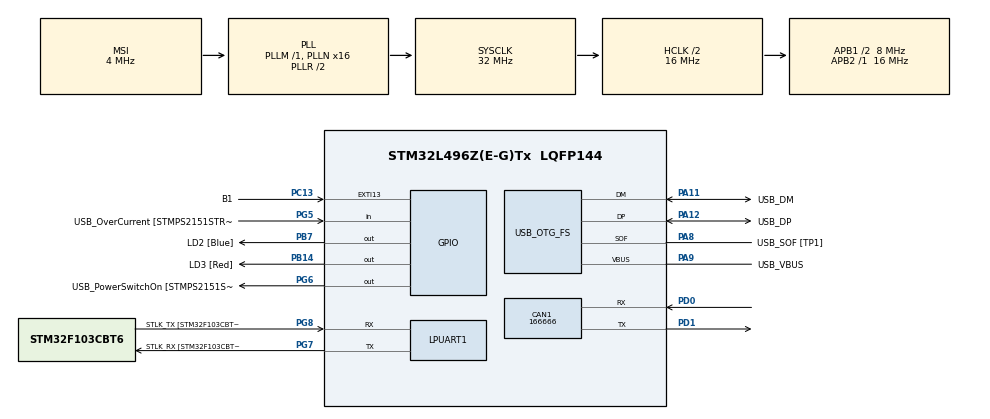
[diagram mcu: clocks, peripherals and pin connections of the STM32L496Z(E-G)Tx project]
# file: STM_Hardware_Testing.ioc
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CAN1.CalculateBaudRate=166666
CAN1.CalculateTimeBit=6000
CAN1.CalculateTimeQuantum=2000.0
IWDG.Prescaler=IWDG_PRESCALER_128
IWDG.Reload=1000
IWDG.Window=1000
Mcu.Family=STM32L4
Mcu.Name=STM32L496Z(E-G)Tx
Mcu.Package=LQFP144
NVIC.CAN1_RX0_IRQn=true\:0\:0\:false\:false\:true\:true\:true\:true
NVIC.PriorityGroup=NVIC_PRIORITYGROUP_4
NVIC.RTC_Alarm_IRQn=true\:0\:0\:false\:false\:true\:true\:true\:true
PA10.GPIO_Label=USB_ID
PA10.Signal=USB_OTG_FS_ID
PA11.GPIO_Label=USB_DM
PA11.Mode=Device_Only
PA11.Signal=USB_OTG_FS_DM
PA12.GPIO_Label=USB_DP
PA12.Mode=Device_Only
PA12.Signal=USB_OTG_FS_DP
PA13\ (JTMS/SWDIO).GPIO_Label=TMS
PA13\ (JTMS/SWDIO).Mode=Trace_Asynchronous_SW
PA13\ (JTMS/SWDIO).Signal=SYS_JTMS-SWDIO
PA14\ (JTCK/SWCLK).GPIO_Label=TCK
PA14\ (JTCK/SWCLK).Mode=Trace_Asynchronous_SW
PA14\ (JTCK/SWCLK).Signal=SYS_JTCK-SWCLK
PA8.GPIO_Label=USB_SOF [TP1]
PA8.Mode=Activate_SOF_FS
PA8.Signal=USB_OTG_FS_SOF
PA9.GPIO_Label=USB_VBUS
PA9.Mode=Activate_VBUS
PA9.Signal=USB_OTG_FS_VBUS
PB14.GPIO_Label=LD3 [Red]
PB14.Signal=GPIO_Output
PB3\ (JTDO/TRACESWO).GPIO_Label=SWO
PB3\ (JTDO/TRACESWO).Mode=Trace_Asynchronous_SW
PB3\ (JTDO/TRACESWO).Signal=SYS_JTDO-SWO
PB7.GPIO_Label=LD2 [Blue]
PB7.Signal=GPIO_Output
PC13.GPIO_Label=B1
PC13.Signal=GPXTI13
PC14-OSC32_IN\ (PC14).Mode=LSE-External-Oscillator
PC14-OSC32_IN\ (PC14).Signal=RCC_OSC32_IN
PC15-OSC32_OUT\ (PC15).Mode=LSE-External-Oscillator
PC15-OSC32_OUT\ (PC15).Signal=RCC_OSC32_OUT
PD0.Mode=CAN_Activate
PD0.Signal=CAN1_RX
PD1.Mode=CAN_Activate
PD1.Signal=CAN1_TX
PG5.GPIO_Label=USB_OverCurrent [STMPS2151STR_FAULT]
PG5.Signal=GPIO_Input
PG6.GPIO_Label=USB_PowerSwitchOn [STMPS2151STR_EN]
PG6.Signal=GPIO_Output
PG7.GPIO_Label=STLK_RX [STM32F103CBT6_PA3]
PG7.Mode=Asynchronous
PG7.Signal=LPUART1_TX
PG8.GPIO_Label=STLK_TX [STM32F103CBT6_PA2]
PG8.Mode=Asynchronous
PG8.Signal=LPUART1_RX
PH1-OSC_OUT\ (PH1).Signal=RCC_OSC_OUT
ProjectManager.HeapSize=0x200
ProjectManager.StackSize=0x400
ProjectManager.TargetToolchain=STM32CubeIDE
RCC.48MHZClocksFreq_Value=24000000
RCC.ADCFreq_Value=48000000
RCC.AHBCLKDivider=RCC_SYSCLK_DIV2
RCC.AHBFreq_Value=16000000
RCC.APB1CLKDivider=RCC_HCLK_DIV2
RCC.APB1Freq_Value=8000000
RCC.APB1TimFreq_Value=16000000
RCC.APB2Freq_Value=16000000
RCC.APB2TimFreq_Value=16000000
RCC.CortexFreq_Value=16000000
RCC.HCLKFreq_Value=16000000
RCC.HSE_VALUE=8000000
RCC.HSI48_VALUE=48000000
RCC.HSI_VALUE=16000000
RCC.MSI_VALUE=4000000
RCC.PLLMUL=RCC_PLL_MUL9
RCC.PLLN=16
RCC.PLLSAI1N=24
RCC.PRESCALERUSB=RCC_USBCLKSOURCE_PLL_DIV1_5
RCC.SYSCLKFreq_VALUE=32000000
RCC.SYSCLKSource=RCC_SYSCLKSOURCE_PLLCLK
RCC.SYSCLKSourceVirtual=RCC_SYSCLKSOURCE_PLLCLK
RCC.USBFreq_Value=48000000
RCC.VCOOutputFreq_Value=64000000
RTC.Alarm-Alarm\ A=RTC_ALARM_A
RTC.AlarmMaskDateWeekDay-Alarm\ A=RTC_ALARMMASK_DATEWEEKDAY
RTC.AlarmMaskHours-Alarm\ A=RTC_ALARMMASK_HOURS
RTC.AlarmMaskMinutes-Alarm\ A=RTC_ALARMMASK_MINUTES
RTC.AlarmMaskSeconds-Alarm\ A=RTC_ALARMMASK_SECONDS
RTC.Seconds=1
USB_OTG_FS.VirtualMode=Device_Only
VP_IWDG_VS_IWDG.Mode=IWDG_Activate
VP_RTC_VS_RTC_Activate.Mode=RTC_Enabled
VP_RTC_VS_RTC_Alarm_A_Intern.Mode=Alarm A
VP_RTC_VS_RTC_Calendar.Mode=RTC_Calendar
board=NUCLEO-L496ZG

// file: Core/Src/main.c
/* USER CODE BEGIN Header */
/**
  ******************************************************************************
  * @file           : main.c
  * @brief          : Main program body
  ******************************************************************************
  * @attention
  *
  * Copyright (c) 2025 STMicroelectronics.
  * All rights reserved.
  *
  * This software is licensed under terms that can be found in the LICENSE file
  * in the root directory of this software component.
  * If no LICENSE file comes with this software, it is provided AS-IS.
  *
  ******************************************************************************
  */
/* USER CODE END Header */
#include "main.h"
//#include "isotp_functions.c"

CAN_HandleTypeDef hcan1;

IWDG_HandleTypeDef hiwdg;

UART_HandleTypeDef hlpuart1;

RTC_HandleTypeDef hrtc;

PCD_HandleTypeDef hpcd_USB_OTG_FS;

/* USER CODE BEGIN PV */
/* USER CODE BEGIN PV */
CAN_FilterTypeDef   canfil;
CAN_RxHeaderTypeDef rxHeader;
uint8_t             canRX[8];
CAN_TxHeaderTypeDef txHeader;
uint8_t             canTX[8];
uint32_t            txMailbox;

/*
 * TXRXState codes/definitions:
 * 0 - not sending/receiving anything
 * 1 - transmitter state, sent FF, awaiting FC
 * 2 - transmitter state, sending CFs
 * 3 - receiver state
 * 4 - message received, print on next main iteration then TXRXState=0
 */
uint8_t             TXRXState;
uint8_t             myTXBuffer[128];
uint16_t			myTXBufferLength;
uint16_t            myTXBufferIndex;
uint16_t			myTXDataLength;
uint8_t             myRXBuffer[128];
uint16_t			myRXBufferLength;
uint16_t            myRXBufferIndex;
uint16_t			myRXDataLength;
uint16_t			myCFsExpected; // this is used as a collection of boolean bits
uint16_t			myCFsReceived; // this is used as a collection of boolean bits

/* USER CODE END PV */

/* USER CODE END PV */

void manageTXRXState(void);						//--+
uint8_t CAN_Send(uint8_t *data, uint8_t len);		//	|
void CAN_SendSFFF(uint8_t *data, uint16_t length);//	+-- These are handled by the import now.
void CAN_SendCFs();								//	|
void setCFsExpected(void);						//	|
void routeRX(void);								//--+
void CAN_SendArray(uint8_t *data, uint16_t length);
void SystemClock_Config(void);
static void MX_GPIO_Init(void);
static void MX_LPUART1_UART_Init(void);
static void MX_USB_OTG_FS_PCD_Init(void);
static void MX_RTC_Init(void);
static void MX_IWDG_Init(void);
static void MX_CAN1_Init(void);

int main(void)
{

	/* USER CODE BEGIN 1 */
	CAN_RxHeaderTypeDef rxHeader;    // CAN receive header
	CAN_TxHeaderTypeDef txHeader;    // CAN transmit header
	uint8_t csend[8] = {1,2,3,4,5,6,7,8}; // CAN TX buffer
	CAN_FilterTypeDef canfil;        // CAN filter
	uint32_t canMailbox;

	/* USER CODE END 1 */

	/* MCU Configuration--------------------------------------------------------*/

	/* Reset of all peripherals, Initializes the Flash interface and the Systick. */
	HAL_Init();

	/* Configure the system clock */
	SystemClock_Config();

	/* Initialize all configured peripherals */
	MX_GPIO_Init();
	MX_LPUART1_UART_Init();
	MX_USB_OTG_FS_PCD_Init();
	MX_RTC_Init();
	MX_IWDG_Init();
	MX_CAN1_Init();
	/* USER CODE BEGIN 2 */
	canfil.FilterBank = 0;
	canfil.FilterMode = CAN_FILTERMODE_IDMASK;
	canfil.FilterFIFOAssignment = CAN_RX_FIFO0;
	canfil.FilterIdHigh = 0;
	canfil.FilterIdLow = 0;
	canfil.FilterMaskIdHigh = 0;
	canfil.FilterMaskIdLow = 0;
	canfil.FilterScale = CAN_FILTERSCALE_32BIT;
	canfil.FilterActivation = ENABLE;
	canfil.SlaveStartFilterBank = 14;

	HAL_CAN_ConfigFilter(&hcan1,&canfil);
	HAL_CAN_Start(&hcan1);
	HAL_CAN_ActivateNotification(&hcan1,CAN_IT_RX_FIFO0_MSG_PENDING);

	/* USER CODE BEGIN CAN_TX_INIT */
	txHeader.StdId = 0x123;              // CAN ID you want
	txHeader.ExtId = 0;                  // unused for standard ID
	txHeader.IDE   = CAN_ID_STD;         // standard frame
	txHeader.RTR   = CAN_RTR_DATA;       // data frame
	txHeader.DLC   = 8;                  // 0–8 bytes
	txHeader.TransmitGlobalTime = DISABLE;
	/* USER CODE END CAN_TX_INIT */
	/* USER CODE END 2 */

	/* Infinite loop */
	/* USER CODE BEGIN WHILE */

	// Initialize buffer details
	myTXBufferLength = 128; // 128 chosen during initialization above
	myRXBufferLength = 128; // 128 chosen during initialization above
	myTXBufferIndex = 0;
	myRXBufferIndex = 0;
	myTXDataLength = 0;
	myRXDataLength = 0;
	myCFsExpected = 0;
	myCFsReceived = 0;
	// Setup state
	txHeader.StdId = 0x210;
	TXRXState = 0;
	uint8_t retries = 0;
	while (1)
	{
		/* USER CODE END WHILE */
		static uint32_t lastTick = 0;
		if (HAL_GetTick() - lastTick > 250) // every 250 ms
		{
			lastTick = HAL_GetTick();
			manageTXRXState();
		}

	}
}

void SystemClock_Config(void)
{
  RCC_OscInitTypeDef RCC_OscInitStruct = {0};
  RCC_ClkInitTypeDef RCC_ClkInitStruct = {0};

  /** Configure the main internal regulator output voltage
  */
  if (HAL_PWREx_ControlVoltageScaling(PWR_REGULATOR_VOLTAGE_SCALE1) != HAL_OK)
  {
    Error_Handler();
  }

  /** Configure LSE Drive Capability
  */
  HAL_PWR_EnableBkUpAccess();
  __HAL_RCC_LSEDRIVE_CONFIG(RCC_LSEDRIVE_LOW);

  /** Initializes the RCC Oscillators according to the specified parameters
  * in the RCC_OscInitTypeDef structure.
  */
  RCC_OscInitStruct.OscillatorType = RCC_OSCILLATORTYPE_LSI|RCC_OSCILLATORTYPE_LSE
                              |RCC_OSCILLATORTYPE_MSI;
  RCC_OscInitStruct.LSEState = RCC_LSE_ON;
  RCC_OscInitStruct.LSIState = RCC_LSI_ON;
  RCC_OscInitStruct.MSIState = RCC_MSI_ON;
  RCC_OscInitStruct.MSICalibrationValue = 0;
  RCC_OscInitStruct.MSIClockRange = RCC_MSIRANGE_6;
  RCC_OscInitStruct.PLL.PLLState = RCC_PLL_ON;
  RCC_OscInitStruct.PLL.PLLSource = RCC_PLLSOURCE_MSI;
  RCC_OscInitStruct.PLL.PLLM = 1;
  RCC_OscInitStruct.PLL.PLLN = 16;
  RCC_OscInitStruct.PLL.PLLP = RCC_PLLP_DIV2;
  RCC_OscInitStruct.PLL.PLLQ = RCC_PLLQ_DIV2;
  RCC_OscInitStruct.PLL.PLLR = RCC_PLLR_DIV2;
  if (HAL_RCC_OscConfig(&RCC_OscInitStruct) != HAL_OK)
  {
    Error_Handler();
  }

  /** Initializes the CPU, AHB and APB buses clocks
  */
  RCC_ClkInitStruct.ClockType = RCC_CLOCKTYPE_HCLK|RCC_CLOCKTYPE_SYSCLK
                              |RCC_CLOCKTYPE_PCLK1|RCC_CLOCKTYPE_PCLK2;
  RCC_ClkInitStruct.SYSCLKSource = RCC_SYSCLKSOURCE_PLLCLK;
  RCC_ClkInitStruct.AHBCLKDivider = RCC_SYSCLK_DIV2;
  RCC_ClkInitStruct.APB1CLKDivider = RCC_HCLK_DIV2;
  RCC_ClkInitStruct.APB2CLKDivider = RCC_HCLK_DIV1;

  if (HAL_RCC_ClockConfig(&RCC_ClkInitStruct, FLASH_LATENCY_0) != HAL_OK)
  {
    Error_Handler();
  }

  /** Enable MSI Auto calibration
  */
  HAL_RCCEx_EnableMSIPLLMode();
}

static void MX_CAN1_Init(void)
{

  hcan1.Instance = CAN1;
  hcan1.Init.Prescaler = 8;
  hcan1.Init.SyncJumpWidth = CAN_SJW_1TQ;
  hcan1.Init.TimeSeg1 = CAN_BS1_13TQ;
  hcan1.Init.TimeSeg2 = CAN_BS2_2TQ;
  //hcan1.Init.Prescaler = 16;
  hcan1.Init.Mode = CAN_MODE_NORMAL;
  //hcan1.Init.SyncJumpWidth = CAN_SJW_1TQ;
  //hcan1.Init.TimeSeg1 = CAN_BS1_1TQ;
  //hcan1.Init.TimeSeg2 = CAN_BS2_1TQ;
  hcan1.Init.TimeTriggeredMode = DISABLE;
  hcan1.Init.AutoBusOff = DISABLE;
  hcan1.Init.AutoWakeUp = DISABLE;
  hcan1.Init.AutoRetransmission = ENABLE;
  hcan1.Init.ReceiveFifoLocked = DISABLE;
  hcan1.Init.TransmitFifoPriority = DISABLE;
  if (HAL_CAN_Init(&hcan1) != HAL_OK)
  {
    Error_Handler();
  }

}

static void MX_IWDG_Init(void)
{

  hiwdg.Instance = IWDG;
  hiwdg.Init.Prescaler = IWDG_PRESCALER_128;
  hiwdg.Init.Window = 1000;
  hiwdg.Init.Reload = 1000;
  if (HAL_IWDG_Init(&hiwdg) != HAL_OK)
  {
    Error_Handler();
  }

}

static void MX_LPUART1_UART_Init(void)
{

  hlpuart1.Instance = LPUART1;
  hlpuart1.Init.BaudRate = 209700;
  hlpuart1.Init.WordLength = UART_WORDLENGTH_7B;
  hlpuart1.Init.StopBits = UART_STOPBITS_1;
  hlpuart1.Init.Parity = UART_PARITY_NONE;
  hlpuart1.Init.Mode = UART_MODE_TX_RX;
  hlpuart1.Init.HwFlowCtl = UART_HWCONTROL_NONE;
  hlpuart1.Init.OneBitSampling = UART_ONE_BIT_SAMPLE_DISABLE;
  hlpuart1.AdvancedInit.AdvFeatureInit = UART_ADVFEATURE_NO_INIT;
  if (HAL_UART_Init(&hlpuart1) != HAL_OK)
  {
    Error_Handler();
  }

}

static void MX_RTC_Init(void)
{

  RTC_TimeTypeDef sTime = {0};
  RTC_DateTypeDef sDate = {0};
  RTC_AlarmTypeDef sAlarm = {0};

  /** Initialize RTC Only
  */
  hrtc.Instance = RTC;
  hrtc.Init.HourFormat = RTC_HOURFORMAT_24;
  hrtc.Init.AsynchPrediv = 127;
  hrtc.Init.SynchPrediv = 255;
  hrtc.Init.OutPut = RTC_OUTPUT_DISABLE;
  hrtc.Init.OutPutRemap = RTC_OUTPUT_REMAP_NONE;
  hrtc.Init.OutPutPolarity = RTC_OUTPUT_POLARITY_HIGH;
  hrtc.Init.OutPutType = RTC_OUTPUT_TYPE_OPENDRAIN;
  if (HAL_RTC_Init(&hrtc) != HAL_OK)
  {
    Error_Handler();
  }

  /** Initialize RTC and set the Time and Date
  */
  sTime.Hours = 0x0;
  sTime.Minutes = 0x0;
  sTime.Seconds = 0x1;
  sTime.DayLightSaving = RTC_DAYLIGHTSAVING_NONE;
  sTime.StoreOperation = RTC_STOREOPERATION_RESET;
  if (HAL_RTC_SetTime(&hrtc, &sTime, RTC_FORMAT_BCD) != HAL_OK)
  {
    Error_Handler();
  }
  sDate.WeekDay = RTC_WEEKDAY_MONDAY;
  sDate.Month = RTC_MONTH_JANUARY;
  sDate.Date = 0x1;
  sDate.Year = 0x0;

  if (HAL_RTC_SetDate(&hrtc, &sDate, RTC_FORMAT_BCD) != HAL_OK)
  {
    Error_Handler();
  }

  /** Enable the Alarm A
  */
  sAlarm.AlarmTime.Hours = 0x0;
  sAlarm.AlarmTime.Minutes = 0x0;
  sAlarm.AlarmTime.Seconds = 0x0;
  sAlarm.AlarmTime.SubSeconds = 0x0;
  sAlarm.AlarmTime.DayLightSaving = RTC_DAYLIGHTSAVING_NONE;
  sAlarm.AlarmTime.StoreOperation = RTC_STOREOPERATION_RESET;
  sAlarm.AlarmMask = RTC_ALARMMASK_ALL;
  sAlarm.AlarmSubSecondMask = RTC_ALARMSUBSECONDMASK_ALL;
  sAlarm.AlarmDateWeekDaySel = RTC_ALARMDATEWEEKDAYSEL_DATE;
  sAlarm.AlarmDateWeekDay = 0x1;
  sAlarm.Alarm = RTC_ALARM_A;
  if (HAL_RTC_SetAlarm_IT(&hrtc, &sAlarm, RTC_FORMAT_BCD) != HAL_OK)
  {
    Error_Handler();
  }

}

static void MX_USB_OTG_FS_PCD_Init(void)
{

  hpcd_USB_OTG_FS.Instance = USB_OTG_FS;
  hpcd_USB_OTG_FS.Init.dev_endpoints = 6;
  hpcd_USB_OTG_FS.Init.speed = PCD_SPEED_FULL;
  hpcd_USB_OTG_FS.Init.phy_itface = PCD_PHY_EMBEDDED;
  hpcd_USB_OTG_FS.Init.Sof_enable = ENABLE;
  hpcd_USB_OTG_FS.Init.low_power_enable = DISABLE;
  hpcd_USB_OTG_FS.Init.lpm_enable = DISABLE;
  hpcd_USB_OTG_FS.Init.battery_charging_enable = ENABLE;
  hpcd_USB_OTG_FS.Init.use_dedicated_ep1 = DISABLE;
  hpcd_USB_OTG_FS.Init.vbus_sensing_enable = ENABLE;
  if (HAL_PCD_Init(&hpcd_USB_OTG_FS) != HAL_OK)
  {
    Error_Handler();
  }

}

static void MX_GPIO_Init(void)
{
  GPIO_InitTypeDef GPIO_InitStruct = {0};

  /* GPIO Ports Clock Enable */
  __HAL_RCC_GPIOC_CLK_ENABLE();
  __HAL_RCC_GPIOH_CLK_ENABLE();
  __HAL_RCC_GPIOB_CLK_ENABLE();
  __HAL_RCC_GPIOG_CLK_ENABLE();
  HAL_PWREx_EnableVddIO2();
  __HAL_RCC_GPIOA_CLK_ENABLE();
  __HAL_RCC_GPIOD_CLK_ENABLE();

  /*Configure GPIO pin Output Level */
  HAL_GPIO_WritePin(GPIOB, LD3_Pin|LD2_Pin, GPIO_PIN_RESET);

  /*Configure GPIO pin Output Level */
  HAL_GPIO_WritePin(USB_PowerSwitchOn_GPIO_Port, USB_PowerSwitchOn_Pin, GPIO_PIN_RESET);

  /*Configure GPIO pin : B1_Pin */
  GPIO_InitStruct.Pin = B1_Pin;
  GPIO_InitStruct.Mode = GPIO_MODE_IT_RISING;
  GPIO_InitStruct.Pull = GPIO_NOPULL;
  HAL_GPIO_Init(B1_GPIO_Port, &GPIO_InitStruct);

  /*Configure GPIO pins : LD3_Pin LD2_Pin */
  GPIO_InitStruct.Pin = LD3_Pin|LD2_Pin;
  GPIO_InitStruct.Mode = GPIO_MODE_OUTPUT_PP;
  GPIO_InitStruct.Pull = GPIO_NOPULL;
  GPIO_InitStruct.Speed = GPIO_SPEED_FREQ_LOW;
  HAL_GPIO_Init(GPIOB, &GPIO_InitStruct);

  /*Configure GPIO pin : USB_OverCurrent_Pin */
  GPIO_InitStruct.Pin = USB_OverCurrent_Pin;
  GPIO_InitStruct.Mode = GPIO_MODE_INPUT;
  GPIO_InitStruct.Pull = GPIO_NOPULL;
  HAL_GPIO_Init(USB_OverCurrent_GPIO_Port, &GPIO_InitStruct);

  /*Configure GPIO pin : USB_PowerSwitchOn_Pin */
  GPIO_InitStruct.Pin = USB_PowerSwitchOn_Pin;
  GPIO_InitStruct.Mode = GPIO_MODE_OUTPUT_PP;
  GPIO_InitStruct.Pull = GPIO_NOPULL;
  GPIO_InitStruct.Speed = GPIO_SPEED_FREQ_LOW;
  HAL_GPIO_Init(USB_PowerSwitchOn_GPIO_Port, &GPIO_InitStruct);

}

/* USER CODE BEGIN 4 */
void HAL_RTC_AlarmAEventCallback(RTC_HandleTypeDef *hrtc) {
  RTC_AlarmTypeDef sAlarm;
  HAL_RTC_GetAlarm(hrtc,&sAlarm,RTC_ALARM_A,FORMAT_BIN);
  if(sAlarm.AlarmTime.Seconds>58) {
    sAlarm.AlarmTime.Seconds=0;
  }else{
    sAlarm.AlarmTime.Seconds=sAlarm.AlarmTime.Seconds+1;
  }
//    while(HAL_RTC_SetAlarm_IT(hrtc, &sAlarm, FORMAT_BIN)!=HAL_OK){}
//    HAL_GPIO_TogglePin(GPIOB, GPIO_PIN_7);
}

void HAL_CAN_RxFifo0MsgPendingCallback(CAN_HandleTypeDef *hcan)
{
    if (HAL_CAN_GetRxMessage(hcan, CAN_RX_FIFO0, &rxHeader, canRX) == HAL_OK)
	{
		HAL_GPIO_TogglePin(GPIOA, GPIO_PIN_3); // RX activity LED
		printf("CAN RX | ID: 0x%03lX | DLC: %d | DATA:",
			   rxHeader.StdId,
			   rxHeader.DLC);

		for (uint8_t i = 0; i < rxHeader.DLC; i++)
		{
			printf(" %02X", canRX[i]);
		}

		printf("\r\n");

		routeRX();
	}
}

/*
 * Determines what should be done from the synchronous code side.
 * This should be run regularly (in the 1-10 Hz range) in main to manage the TX/RX states
 */
void manageTXRXState(void)
{
	// Send data if not sending
	if (TXRXState == 0)
	{
		// Build test data
		myTXDataLength = 32;
		for(int i=0; i<32; i++)
		{
			myTXBuffer[i]=i;
		}
		// Send test data
		//CAN_SendSFFF(myTXBuffer, myTXDataLength);
	}
	else if (TXRXState == 1)
	{
		retries++;
		if (retries >= 10)
		{
			TXRXState = 0; // Allow PQ to retry send on next iteration
		}
	}
	else if (TXRXState == 2)
	{
		// do nothing
	}
	else if (TXRXState == 3)
	{
		// do nothing
	}
	else if (TXRXState == 4)
	{
		printf("RX Buffer:");
		for (uint16_t i = 0; i < myRXDataLength; i++)
		{
			printf(" i=%02d %02X,", i, myRXBuffer[i]);
		}
		printf("\n");
		TXRXState = 0;
	}
}

/*
 * Safely sends (and prints to terminal) one CAN frame.
 */
uint8_t CAN_Send(uint8_t *data, uint8_t len)
{
    if (len > 8) len = 8;
    txHeader.DLC = len;
    printf("checking CAN TX mailboxes.\r\n");
    if (HAL_CAN_GetTxMailboxesFreeLevel(&hcan1) > 0)
    {
        if (HAL_CAN_AddTxMessage(&hcan1, &txHeader, data, &txMailbox) == HAL_OK)
        {
            printf("CAN TX | ID: 0x%03lX | DLC: %d\r\n",
                   txHeader.StdId, txHeader.DLC);
        }
        else
        {
            printf("CAN TX ERROR\r\n");
        }
        return 1;
    }
    printf("CAN TX mailboxes full, failed to send data.\r\n");
    return 0;
}

/*
 * The entry-point for sending data via CAN ISO-TP.
 * Decides automatically whether to send a SF or FF.
 */
void CAN_SendSFFF(uint8_t *data, uint16_t length)
{
	uint8_t packet[8] = {0};
	myTXBufferIndex = 0;

	// Single Frame (SF): up to 7 bytes payload
	if (length <= 7)
	{
	    packet[0] = (0x0u << 4) | (uint8_t)(length & 0x0Fu);
	    memcpy(&packet[1], data, length);
	    CAN_Send(packet, 8);   // send full 8 bytes for consistent logging
	    TXRXState = 0; // Code for not actively sending out data
	    return;
	}
	// (End SF)

	// First Frame (FF): 12 bit length -> 4095 byte data limit
	if (length>4095){
		// ERROR: Above the first frame memory limit, return an handle error
		TXRXState = 0; // Code for not actively sending out data
		return;

	}

	// PCI: First Frame (1) + 12-bit length
	packet[0] = (0x1u << 4) | (uint8_t)((length >> 8) & 0x0Fu);
    packet[1] = (uint8_t)(length & 0xFFu);

    // First 6 data bytes go in bytes 2..7
	memcpy(&packet[2], &data[0], 6);
	myTXBufferIndex += 6;

	CAN_Send(packet, 8);
	TXRXState = 1; // Code for having sent FF
	// IMPORTANT: Will send CFs after FC received from receiver board
}

/*
 * Sends the next batch of CFs from the data.
 * Note: ensure that the TXBuffer has not been modified since the FF or previous CF was sent.
 */
void CAN_SendCFs()
{
	if ((canRX[0] & 0xF0) != 0x30) return; // Did not receive FC frame. CAN_SendCF was called incorrectly
	if (TXRXState != 1 && TXRXState != 2) return; // Doesn't have CFs to send.
	// Determine 0=continue, 1=wait, 2=abort
	uint8_t pcl = canRX[0] & 0x0F;
	if (pcl == 1)
	{
		return;
	}
	else if (pcl != 0)
	{
		TXRXState = 0; // Abort data send process
		return;
	}
	// If here, should continue sending bytes!
	TXRXState = 2; // Code for actively sending CFs
	// Parse send parameters
	uint8_t numFrames = canRX[1];
	uint8_t frameWait = canRX[2]; // Note this is technically incorrect ISO-TP, but okay for 10ms standard delay

	uint8_t sn = 1;

	for (uint8_t i = 0; i <= numFrames; i++) //  changed loop so data is sent when numframes is not equal to 0
	{
		printf("sending frame %d\r\n", i);
		uint8_t packet[8] = {0};

		// PCI: 2 then index
		packet[0] = (0x2u << 4) | sn;
		sn = (sn + 1) & 0x0F;
		if (sn == 0) sn = 1;

		// Prep next data bytes
		uint16_t numRemaining = myTXDataLength - myTXBufferIndex;
		uint8_t numSend = numRemaining > 7 ? 7 : numRemaining;
		memcpy(&packet[1], &myTXBuffer[myTXBufferIndex], numSend);
		myTXBufferIndex += numSend;

		CAN_Send(packet, 8);

		//HAL_Delay(frameWait); Our FCs will have no frame wait delay - they can arrive out of order!

		if (myTXBufferIndex >= myTXDataLength)
		{
			TXRXState = 0; // Done sending data!
			break;
			// Note: this doesn't reset the dataIndex pointer.
		}
	}
}

/*
 * Helper function that determines the expected shape of the next incoming CF bundle.
 * Also determines (and stores in LSB) if at least 1 more CF bundle is required.
 */
void setCFsExpected(void)
{
	myCFsExpected = 0;
	uint16_t bytes_expected = myRXDataLength - myRXBufferIndex;
	uint16_t numCFs = (bytes_expected + 6) / 7; // Number of CFs needed (ceil division)
	uint8_t numCFs_this_block = (numCFs > 15) ? 15 : numCFs; // Limit to current block (max 15)
	for (uint8_t k = 1; k <= numCFs_this_block; k++) // Set bits 1–numCFs_this_block
	{
	    myCFsExpected |= (uint16_t)(1u << k);
	}
	if (numCFs > 15) // If more CFs are needed beyond this block, set LSB
	{
	    myCFsExpected |= 0x1; // now should = 0xFFFF
	}
}

/*
 * Takes action based on the RX frame type.
 */
void routeRX(void)
{
	// Get Frame Type
	uint8_t frameType = canRX[0] >> 4;

	if (frameType == 0)
	{
		// Case incoming frame is SF
		myRXDataLength = canRX[0] & 0x0F;
		memcpy(myRXBuffer, &canRX[1], myRXDataLength);
		myRXBufferIndex = myRXDataLength;
		// The data portion of the SF should be in myRXBuffer
		// Consider validating that the SF has been digested properly here
	}
	else if (frameType == 1)
	{
		// Case incoming frame is FF
		TXRXState = 3;
		myRXDataLength = 0x0FFF & ((((uint16_t)canRX[0]) << 8) | (uint16_t)canRX[1]);
		memcpy(myRXBuffer, &canRX[2], 6);
		myRXBufferIndex = 6;
		// The data portion of the FF should be in myRXBuffer (no action)
		// Consider validating that the FF has been digested properly here
		// Decide how much data to expect from the next CF dump
		setCFsExpected();
		// Send FC Frame
		myCFsReceived = 0;
		uint8_t packet[8] = {0x30, 0x0F, 0x00, 0x00, 0x00, 0x00, 0x00, 0x00}; // requests 15 CFs
		CAN_Send(packet, 8);
	}
	else if (frameType == 2)
	{
		// Case incoming frame is CF
		if (TXRXState != 3)
		{
			return; // Should not be receiving CFs at the moment
		}
		// ID the CF
		uint8_t CFsn = canRX[0] & 0x0F;
		// Store in buffer in correct location
		uint16_t write_index = myRXBufferIndex + 7u * (CFsn - 1);
		if (write_index >= myRXDataLength)
		{
			return;
		}
		uint16_t bytes_remaining = myRXDataLength - write_index;
		uint8_t bytes_to_copy = (bytes_remaining >= 7) ? 7 : (uint8_t)bytes_remaining;
		memcpy(&myRXBuffer[write_index], &canRX[1], bytes_to_copy);
		// Note received
		myCFsReceived |= (uint16_t)(1u << CFsn);
		// Check for message complete
		if (myCFsReceived == myCFsExpected)
		{
			TXRXState = 4;
		}
		// if received all CFs, send FC Frame
		else if (myCFsReceived == 0xFFFE && (myCFsExpected & 0x1)) // All received when highest 15 bits are 1
		{
			myRXBufferIndex += 105; // 105 = 15*7
			// Decide how much data to expect from the next CF dump
			setCFsExpected();
			// Send CF
			myCFsReceived = 0;
			uint8_t packet[8] = {0x30, 0x0F, 0x00, 0x00, 0x00, 0x00, 0x00, 0x00}; // requests 15 CFs
			CAN_Send(packet, 8);
		}
	}
	else if (frameType == 3)
	{
		// Case incoming message is FC
		// Flag the FC
		uint8_t FCflag = canRX[0] & 0x0F;
		// Case by case
		if (FCflag == 0)
		{
			// Case continue with CFs
			CAN_SendCFs();
		}
		else if (FCflag == 1)
		{
			// Case wait
			// do nothing. The state machine will use this for retry logic later
		}
		else if (FCflag == 2)
		{
			// Case abort
			TXRXState = 0;
		}
	}
}

/*
 * Old CAN Testing function incompatible with ISO-TP.
 * Do not use.
 */
void CAN_SendArray(uint8_t *data, uint16_t length)
{
    uint16_t index = 0;
    uint8_t packet[8];

    while (index < length)
    {
        uint8_t chunk = (length - index > 8) ? 8 : length - index;

        memcpy(packet, &data[index], chunk);

        CAN_Send(packet, chunk);

        index += chunk;

        HAL_Delay(2);
    }
}

/* USER CODE END 4 */

void Error_Handler(void)
{
  __disable_irq();
  while (1)
  {
  }
}
